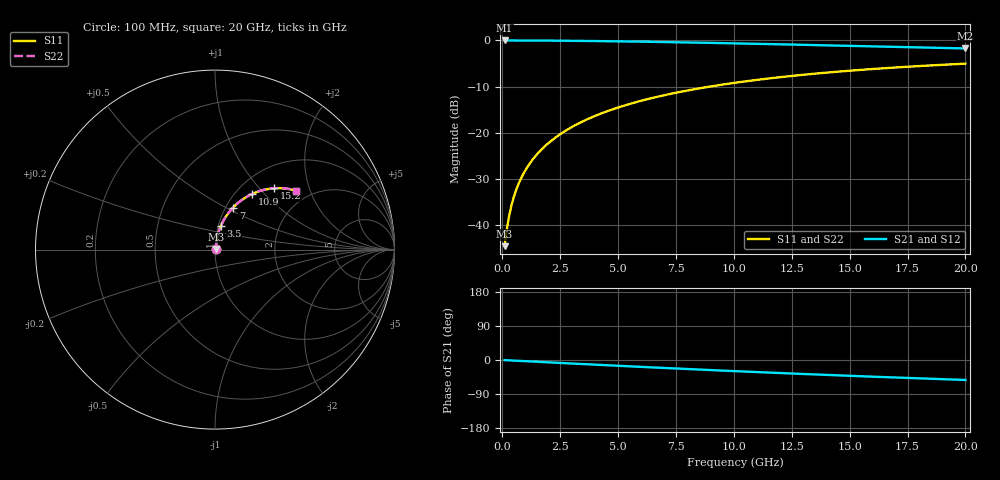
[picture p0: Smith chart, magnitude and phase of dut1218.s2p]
! Touchstone file exported from HFSS 2026.1.0
!  File:  C:/ffzhzh/LocalFiles/Ansys_Project_Files/temp_train_TMRDL_1218_1783163272_55132.aedt
!  Generated:  07:09:24 PM Jul  4, 2026
!  Design:  TMRDL
!  Project:  temp_train_TMRDL_1218_1783163272_55132
! Variables:
!  h_bsmrdl = 2um
!  h_ox = 20um
!  h_rdl = 5um
!  h_sub = 80um
!  h_tmrdl = 4.42um
!  h_tsv = 80um
!  h_via = 3um
!  l_bsmrdl = 300um
!  l_sub = 1134.44um
!  l_tmrdl = 734.44um
!  m_sub = 200um
!  pitch = 53.6um
!  r_tsv = 6um
!  s_tmrdl = 10um
!  w_bsmrdl = 18um
!  w_sub = 500um
!  w_tmrdl = 13.61um
!  x_tsv_center1 = 741.245um
!  x_tsv_center2 = 1059.245um
!  x_tsv_center3 = 1807.295um
!  x_tsv_center4 = 2125.295um
!  x_tsv_center5 = 2873.345um
!  x_tsv_center6 = 3191.345um
# GHz S MA R 50.000000
! Terminal data exported
! Port[1] = TM_RDL1_1_T1
! Port[2] = TM_RDL1_1_T2
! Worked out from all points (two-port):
!   200 points, 100 MHz to 20 GHz, reference 50 ohm
!   highest |S21| = -0.04 dB at 100 MHz (marker M1); lowest = -1.8 dB at 20 GHz (marker M2)
!   |S21| within 3 dB of the highest: start of sweep to end of sweep
!   lowest |S11| = -44.5 dB at 100 MHz (marker M3), VSWR 1.01, Z = 50.4 + j0.406 ohm
!   |S11| at or under -10 dB: start of sweep to 8.972 GHz
!   |S22| runs from -44.5 to -5.1 dB; largest |S21 - S12| = 4.3e-15
!   S11 on the Smith chart (normalised r, x): 100 MHz: 1.01, +0.01; 3.5 GHz: 1.03, +0.27; 7 GHz: 1.08, +0.54; 10.9 GHz: 1.19, +0.85; 15.2 GHz: 1.36, +1.20; 20 GHz: 1.69, +1.61
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0.1  0.005955 42.5  0.9956 -0.3  0.9956 -0.3  0.005955 42.5
! Gamma 0 0 0 0
! Port Impedance 50 0 50 0
0.2  0.009205 60.4  0.9955 -0.6  0.9955 -0.6  0.009205 60.4
0.3  0.01285 68.2  0.9954 -1.0  0.9954 -1.0  0.01285 68.2
0.4  0.01659 72.4  0.9952 -1.3  0.9952 -1.3  0.01659 72.4
0.5  0.02037 74.9  0.995 -1.6  0.995 -1.6  0.02037 74.9
0.6  0.02417 76.5  0.9949 -1.9  0.9949 -1.9  0.02417 76.5
0.8  0.03179 78.5  0.9945 -2.5  0.9945 -2.5  0.03179 78.5
1.1  0.04327 79.7  0.9939 -3.4  0.9939 -3.4  0.04327 79.7
1.5  0.05858 80.1  0.9929 -4.7  0.9929 -4.7  0.05858 80.1
2.1  0.08146 79.4  0.991 -6.5  0.991 -6.5  0.08146 79.4
2.7  0.1041 78.2  0.9884 -8.4  0.9884 -8.4  0.1041 78.2
3.5  0.1338 76.2  0.9842 -10.8  0.9842 -10.8  0.1338 76.3
5  0.1876 72.2  0.9741 -15.3  0.9741 -15.3  0.1876 72.2
6.8  0.2486 67.2  0.959 -20.5  0.959 -20.5  0.2486 67.3
7  0.2551 66.7  0.9571 -21.1  0.9571 -21.1  0.2551 66.8
8.5  0.3021 62.7  0.9425 -25.2  0.9425 -25.2  0.3021 62.7
10.1  0.3488 58.5  0.9256 -29.5  0.9256 -29.5  0.3488 58.6
10.9  0.3707 56.5  0.9168 -31.6  0.9168 -31.6  0.3707 56.6
13.4  0.4334 50.4  0.8885 -37.9  0.8885 -37.9  0.4334 50.5
15.2  0.4732 46.2  0.8679 -42.2  0.8679 -42.2  0.4732 46.3
16.7  0.503 42.8  0.8511 -45.6  0.8511 -45.6  0.503 43.0
20  0.5587 35.9  0.8161 -52.7  0.8161 -52.7  0.5587 36.1
